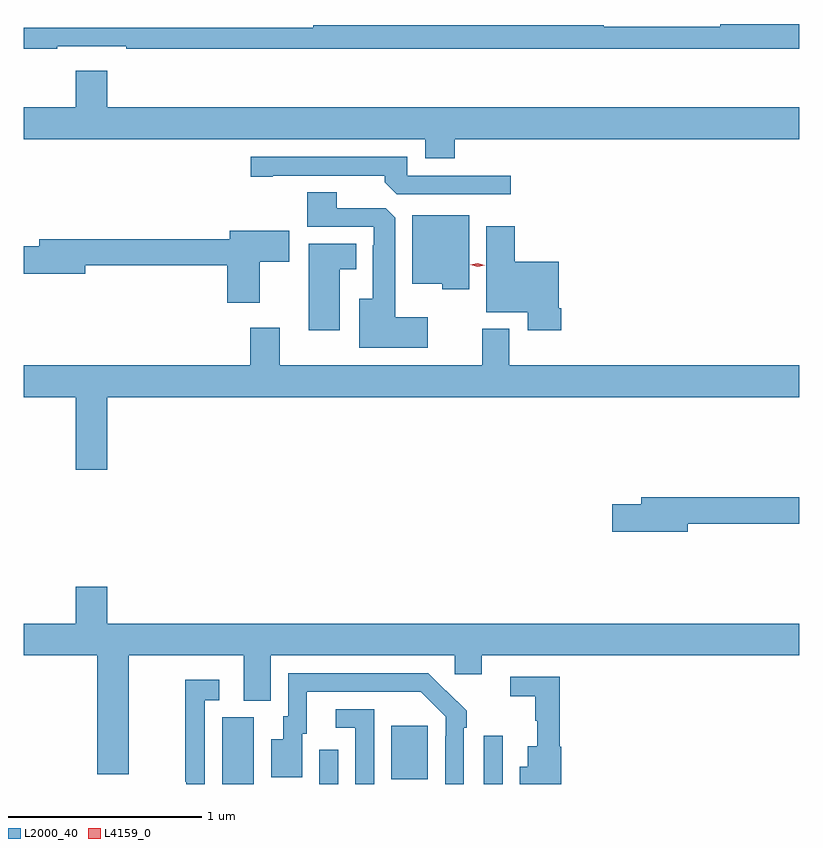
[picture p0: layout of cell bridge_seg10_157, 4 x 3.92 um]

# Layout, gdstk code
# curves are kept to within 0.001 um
import gdstk
lib = gdstk.Library(unit=1e-6, precision=1e-09)
def R(c, l, rs):  # rectangles x0, y0, x1, y1
    for r in rs: c.add(gdstk.rectangle(r[:2], r[2:], *l))
def P(c, l, *ps):  # polygons
    for p in ps: c.add(gdstk.Polygon(p, *l))
L2000_40 = (2000, 40)
L4159_0 = (4159, 0)

bridge_seg10_157 = lib.new_cell('bridge_seg10_157')
R(bridge_seg10_157, L2000_40, [(249.68,1274.344,249.844,1274.688), (250.182,1274.344,250.278,1274.521), (251.031,1274.344,251.127,1274.593), (250.553,1274.369,250.741,1274.644)])
P(bridge_seg10_157, L2000_40, [(248.828,1278.15),(249.184,1278.15),(249.184,1278.138),(252.657,1278.138),(252.657,1278.266),(252.25,1278.266),(252.25,1278.251),(251.65,1278.251),(251.65,1278.259),(250.15,1278.259),(250.15,1278.246),(248.657,1278.246),(248.657,1278.138),(248.828,1278.138)],
  [(250.88,1277.672),(252.657,1277.672),(252.657,1277.836),(249.088,1277.836),(249.088,1278.025),(248.924,1278.025),(248.924,1277.836),(248.657,1277.836),(248.657,1277.672),(250.727,1277.672),(250.727,1277.573),(250.88,1277.573)],
  [(251.17,1277.484),(250.635,1277.484),(250.635,1277.58),(249.828,1277.58),(249.828,1277.479),(249.94,1277.479),(249.94,1277.484),(250.52,1277.484),(250.52,1277.45),(250.581,1277.388),(251.17,1277.388)],
  [(250.741,1276.753),(250.573,1276.753),(250.573,1277.267),(250.524,1277.316),(250.27,1277.316),(250.27,1277.399),(250.118,1277.399),(250.118,1277.22),(250.461,1277.22),(250.461,1277.123),(250.457,1277.123),(250.457,1276.849),(250.388,1276.849),(250.388,1276.595),(250.741,1276.595)],
  [(250.954,1277.278),(250.661,1277.278),(250.661,1276.925),(250.815,1276.925),(250.815,1276.898),(250.954,1276.898)],
  [(251.429,1276.798),(251.416,1276.798),(251.416,1277.038),(251.189,1277.038),(251.189,1277.221),(251.042,1277.221),(251.042,1276.778),(251.258,1276.778),(251.258,1276.686),(251.429,1276.686)],
  [(249.874,1277.038),(250.027,1277.038),(250.027,1277.2),(249.719,1277.2),(249.719,1277.156),(248.735,1277.156),(248.735,1277.12),(248.657,1277.12),(248.657,1276.978),(248.974,1276.978),(248.974,1277.02),(249.707,1277.02),(249.707,1276.827),(249.874,1276.827)],
  [(250.288,1277),(250.372,1277),(250.372,1277.131),(250.127,1277.131),(250.127,1276.686),(250.288,1276.686)],
  [(251.021,1276.693),(251.021,1276.504),(249.976,1276.504),(249.976,1276.699),(249.824,1276.699),(249.824,1276.504),(248.657,1276.504),(248.657,1276.34),(248.924,1276.34),(248.924,1275.966),(249.088,1275.966),(249.088,1276.34),(252.657,1276.34),(252.657,1276.504),(251.161,1276.504),(251.161,1276.693)],
  [(252.082,1275.688),(252.657,1275.688),(252.657,1275.824),(251.843,1275.824),(251.843,1275.788),(251.694,1275.788),(251.694,1275.646),(252.082,1275.646)],
  [(249.199,1275.008),(249.791,1275.008),(249.791,1274.773),(249.931,1274.773),(249.931,1275.008),(250.881,1275.008),(250.881,1274.91),(251.02,1274.91),(251.02,1275.008),(252.657,1275.008),(252.657,1275.172),(249.088,1275.172),(249.088,1275.361),(248.924,1275.361),(248.924,1275.172),(248.657,1275.172),(248.657,1275.008),(249.035,1275.008),(249.035,1274.394),(249.199,1274.394)],
  [(250.926,1274.633),(250.941,1274.633),(250.941,1274.721),(250.744,1274.916),(250.02,1274.916),(250.02,1274.694),(249.995,1274.694),(249.995,1274.575),(249.932,1274.575),(249.932,1274.379),(250.093,1274.379),(250.093,1274.604),(250.117,1274.604),(250.117,1274.82),(250.705,1274.82),(250.833,1274.691),(250.833,1274.591),(250.83,1274.591),(250.83,1274.344),(250.926,1274.344)],
  [(251.429,1274.535),(251.423,1274.535),(251.423,1274.898),(251.166,1274.898),(251.166,1274.797),(251.295,1274.797),(251.295,1274.67),(251.306,1274.67),(251.306,1274.539),(251.258,1274.539),(251.258,1274.434),(251.216,1274.434),(251.216,1274.344),(251.429,1274.344)],
  [(249.591,1274.775),(249.664,1274.775),(249.664,1274.881),(249.49,1274.881),(249.49,1274.356),(249.495,1274.356),(249.495,1274.344),(249.591,1274.344)],
  [(250.464,1274.73),(250.266,1274.73),(250.266,1274.634),(250.368,1274.634),(250.368,1274.344),(250.464,1274.344)])
P(bridge_seg10_157, L4159_0, [(250.998,1277.012),(250.96,1277.023),(250.96,1277.023),(250.96,1277.023),(250.998,1277.032),(251.036,1277.021),(251.036,1277.021),(251.036,1277.021)])

lib.write_gds('bridge_seg10_157.gds')
